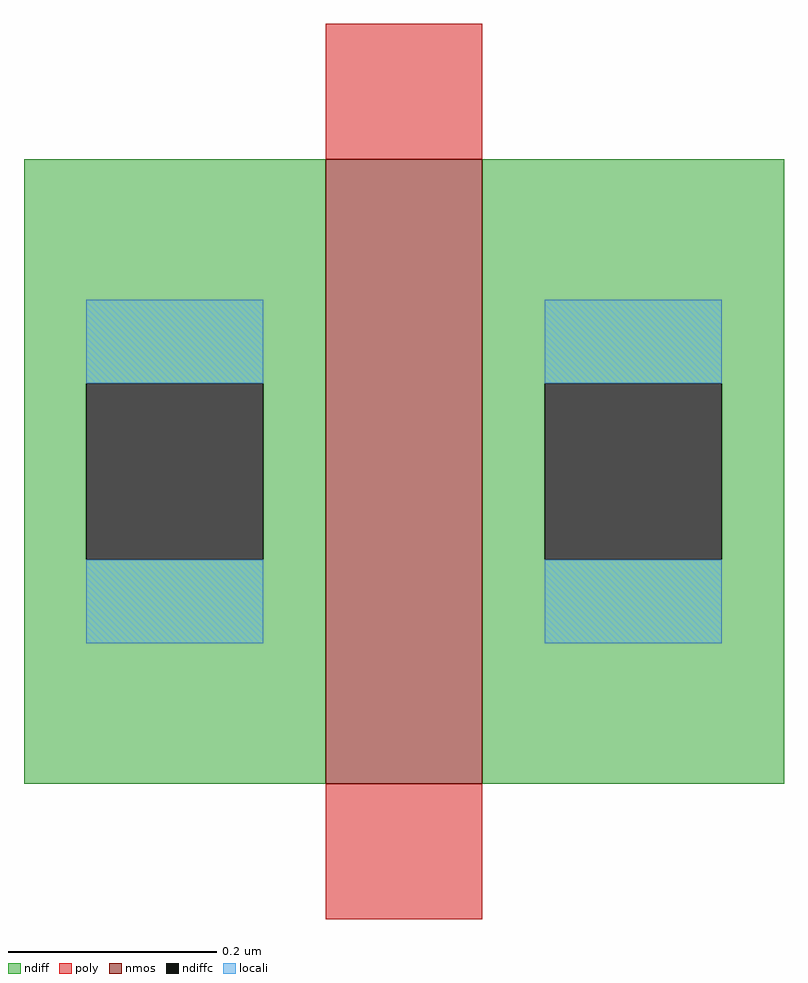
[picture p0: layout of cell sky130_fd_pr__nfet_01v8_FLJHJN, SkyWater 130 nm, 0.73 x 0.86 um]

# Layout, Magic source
magic
tech sky130A
magscale 1 2
<< nmos >>
rect -15 -60 15 60
<< ndiff >>
rect -73 17 -15 60
rect -73 -17 -61 17
rect -27 -17 -15 17
rect -73 -60 -15 -17
rect 15 17 73 60
rect 15 -17 27 17
rect 61 -17 73 17
rect 15 -60 73 -17
<< ndiffc >>
rect -61 -17 -27 17
rect 27 -17 61 17
<< poly >>
rect -15 60 15 86
rect -15 -86 15 -60
<< locali >>
rect -61 17 -27 33
rect -61 -33 -27 -17
rect 27 17 61 33
rect 27 -33 61 -17
<< properties >>
string gencell sky130_fd_pr__nfet_01v8
string parameters w .6 l 0.150 m 1 nf 1 diffcov 20 polycov 20 guard 0 glc 0 grc 0 gtc 0 gbc 0 tbcov 0 rlcov 0 topc 0 botc 0 poverlap 0 doverlap 0 lmin 0.15 wmin 0.42 compatible {sky130_fd_pr__nfet_01v8 sky130_fd_pr__nfet_01v8_lvt  sky130_fd_bs_flash__special_sonosfet_star  sky130_fd_pr__nfet_g5v0d10v5 sky130_fd_pr__nfet_05v0_nvt} full_metal 0 viasrc 0 viadrn 0 viagate 0 viagb 0 viagr 0 viagl 0 viagt 0
string library sky130
<< end >>
